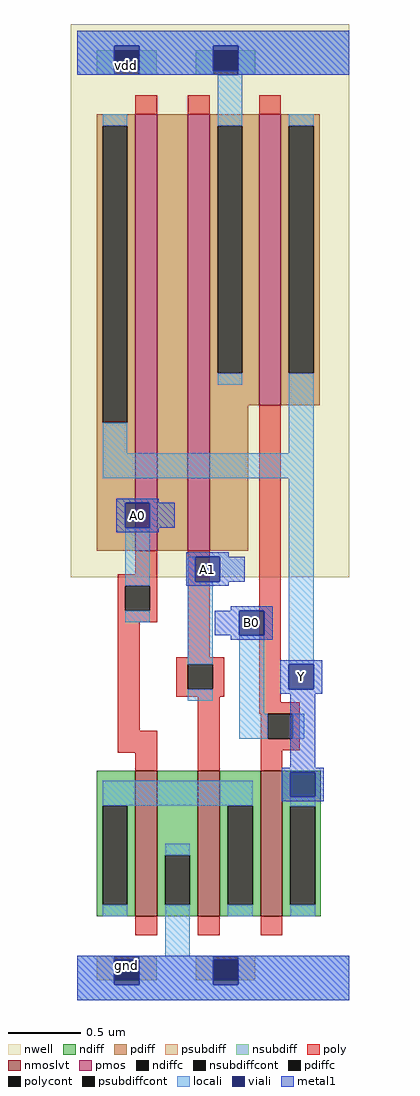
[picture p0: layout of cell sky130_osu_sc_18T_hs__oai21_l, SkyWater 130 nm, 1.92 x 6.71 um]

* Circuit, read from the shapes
.subckt sky130_osu_sc_18T_hs__oai21_l A0 A1 Y B0
XM1 gnd A0 n1 gnd sky130_fd_pr__nfet_01v8_lvt w=1 l=0.15
XM2 n1 A1 gnd gnd sky130_fd_pr__nfet_01v8_lvt w=1 l=0.15
XM3 Y B0 n1 gnd sky130_fd_pr__nfet_01v8_lvt w=1 l=0.15
XM4 n2 A0 Y vdd sky130_fd_pr__pfet_01v8 w=3 l=0.15
XM5 vdd A1 n2 vdd sky130_fd_pr__pfet_01v8 w=3 l=0.15
XM6 Y B0 vdd vdd sky130_fd_pr__pfet_01v8 w=2 l=0.15
.ends

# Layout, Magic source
magic
tech sky130A
magscale 1 2
<< nwell >>
rect -9 581 374 1341
<< pmos >>
rect 80 617 110 1217
rect 152 617 182 1217
rect 250 817 280 1217
<< nmoslvt >>
rect 80 115 110 315
rect 166 115 196 315
rect 252 115 282 315
<< ndiff >>
rect 27 267 80 315
rect 27 131 35 267
rect 69 131 80 267
rect 27 115 80 131
rect 110 199 166 315
rect 110 131 121 199
rect 155 131 166 199
rect 110 115 166 131
rect 196 267 252 315
rect 196 131 207 267
rect 241 131 252 267
rect 196 115 252 131
rect 282 266 335 315
rect 282 131 293 266
rect 327 131 335 266
rect 282 115 335 131
<< pdiff >>
rect 27 1201 80 1217
rect 27 793 35 1201
rect 69 793 80 1201
rect 27 617 80 793
rect 110 617 152 1217
rect 182 1201 250 1217
rect 182 861 193 1201
rect 227 861 250 1201
rect 182 817 250 861
rect 280 1201 333 1217
rect 280 861 291 1201
rect 325 861 333 1201
rect 280 817 333 861
rect 182 617 235 817
<< ndiffc >>
rect 35 131 69 267
rect 121 131 155 199
rect 207 131 241 267
rect 293 131 327 266
<< pdiffc >>
rect 35 793 69 1201
rect 193 861 227 1201
rect 291 861 325 1201
<< psubdiff >>
rect 27 27 51 61
rect 85 27 109 61
rect 163 27 187 61
rect 221 27 245 61
<< nsubdiff >>
rect 27 1271 51 1305
rect 85 1271 109 1305
rect 163 1271 187 1305
rect 221 1271 245 1305
<< psubdiffcont >>
rect 51 27 85 61
rect 187 27 221 61
<< nsubdiffcont >>
rect 51 1271 85 1305
rect 187 1271 221 1305
<< poly >>
rect 80 1217 110 1243
rect 152 1217 182 1243
rect 250 1217 280 1243
rect 80 585 110 617
rect 56 569 110 585
rect 56 535 66 569
rect 100 535 110 569
rect 56 519 110 535
rect 56 370 86 519
rect 152 471 182 617
rect 136 461 202 471
rect 136 427 152 461
rect 186 427 202 461
rect 136 417 202 427
rect 56 340 110 370
rect 80 315 110 340
rect 166 315 196 417
rect 250 409 280 817
rect 250 393 306 409
rect 252 359 262 393
rect 296 359 306 393
rect 252 343 306 359
rect 252 315 282 343
rect 80 89 110 115
rect 166 89 196 115
rect 252 89 282 115
<< polycont >>
rect 66 535 100 569
rect 152 427 186 461
rect 262 359 296 393
<< locali >>
rect 0 1311 374 1332
rect 0 1271 51 1311
rect 85 1271 187 1311
rect 221 1271 374 1311
rect 35 1201 69 1217
rect 193 1201 227 1271
rect 193 845 227 861
rect 291 1201 325 1217
rect 35 751 69 793
rect 291 751 325 861
rect 35 717 325 751
rect 66 569 100 649
rect 66 519 100 535
rect 152 575 162 609
rect 152 461 186 575
rect 152 411 186 427
rect 223 393 257 501
rect 291 461 325 717
rect 223 359 262 393
rect 296 359 312 393
rect 35 267 241 301
rect 35 115 69 131
rect 121 199 155 215
rect 121 61 155 131
rect 207 115 241 131
rect 293 266 327 279
rect 293 115 327 131
rect 0 21 51 61
rect 85 21 187 61
rect 221 21 374 61
rect 0 0 374 21
<< viali >>
rect 51 1305 85 1311
rect 51 1277 85 1305
rect 187 1305 221 1311
rect 187 1277 221 1305
rect 66 649 100 683
rect 162 575 196 609
rect 223 501 257 535
rect 291 427 325 461
rect 293 279 327 313
rect 51 27 85 55
rect 51 21 85 27
rect 187 27 221 55
rect 187 21 221 27
<< metal1 >>
rect 0 1311 374 1332
rect 0 1277 51 1311
rect 85 1277 187 1311
rect 221 1277 374 1311
rect 0 1271 374 1277
rect 54 683 112 689
rect 54 649 66 683
rect 100 649 134 683
rect 54 643 112 649
rect 150 609 208 615
rect 150 575 162 609
rect 196 575 230 609
rect 150 569 208 575
rect 211 535 269 541
rect 189 501 223 535
rect 257 501 269 535
rect 211 495 269 501
rect 279 461 337 467
rect 279 427 291 461
rect 325 427 337 461
rect 279 421 337 427
rect 293 319 327 421
rect 281 313 339 319
rect 281 279 293 313
rect 327 279 339 313
rect 281 273 339 279
rect 0 55 374 61
rect 0 21 51 55
rect 85 21 187 55
rect 221 21 374 55
rect 0 0 374 21
<< labels >>
rlabel metal1 83 666 83 666 1 A0
port 1 n
rlabel metal1 179 592 179 592 1 A1
port 2 n
rlabel metal1 308 444 308 444 1 Y
port 3 n
rlabel metal1 240 518 240 518 1 B0
port 4 n
rlabel viali 68 48 68 48 1 gnd
rlabel viali 68 1284 68 1284 1 vdd
<< end >>
